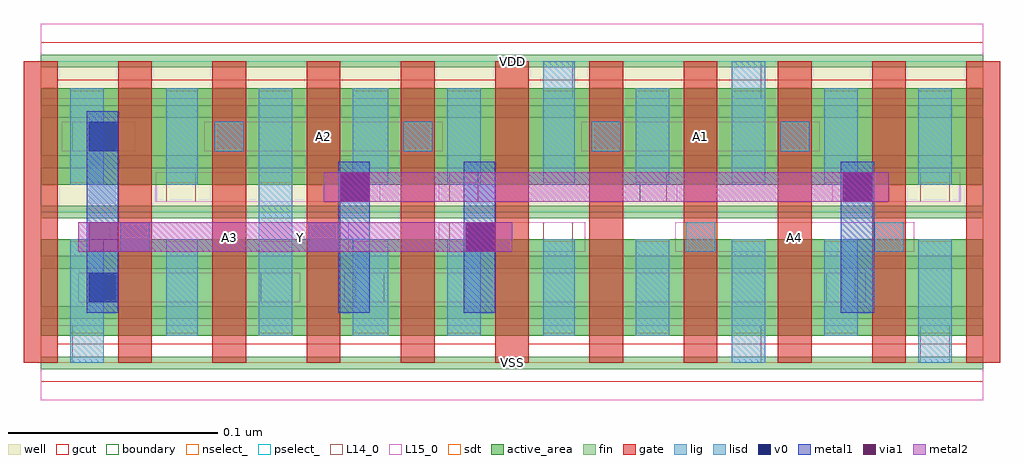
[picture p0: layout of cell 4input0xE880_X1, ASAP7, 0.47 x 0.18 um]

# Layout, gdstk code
import gdstk
lib = gdstk.Library(unit=1e-6, precision=1e-09)
def R(c, l, rs):  # rectangles x0, y0, x1, y1
    for r in rs: c.add(gdstk.rectangle(r[:2], r[2:], *l))
def A(c, l, x, y, w, h, nx, ny, dx, dy):  # array of equal rectangles
    R(c, l, [(x+i*dx, y+j*dy, x+i*dx+w, y+j*dy+h) for i in range(nx) for j in range(ny)])
def P(c, l, *ps):  # polygons
    for p in ps: c.add(gdstk.Polygon(p, *l))
well = (1, 0)
fin = (2, 0)
gate = (7, 0)
gcut = (10, 0)
active_area = (11, 0)
nselect_ = (12, 0)
pselect_ = (13, 0)
L14_0 = (14, 0)
L15_0 = (15, 0)
lig = (16, 0)
lisd = (17, 0)
v0 = (18, 0)
metal1 = (19, 0)
metal2 = (20, 0)
via1 = (21, 0)
sdt = (88, 0)
boundary = (100, 0)

c_4input0xe880_x1 = lib.new_cell('4input0xE880_X1')
R(c_4input0xe880_x1, well, [(0,0.072,0.45,0.144)])
A(c_4input0xe880_x1, fin, 0, -0.003, 0.45, 0.006, 1, 7, 0, 0.024)
A(c_4input0xe880_x1, gate, -0.008, 0, 0.016, 0.144, 11, 1, 0.045, 0)
P(c_4input0xe880_x1, gcut, [(0,-0.009),(0,0),(-0.008,0),(-0.008,0.135),(0.008,0.135),(0.008,0.009),(0.217,0.009),(0.217,0.135),(0.233,0.135),(0.233,0.009),(0.442,0.009),(0.442,0.135),(-0.008,0.135),(-0.008,0.144),(0,0.144),(0,0.153),(0.45,0.153),(0.45,0.144),(0.458,0.144),(0.458,0),(0.45,0),(0.45,-0.009)])
R(c_4input0xe880_x1, active_area, [(0,0.013,0.45,0.059), (0,0.085,0.45,0.131)])
R(c_4input0xe880_x1, nselect_, [(0,0,0.45,0.072)])
R(c_4input0xe880_x1, pselect_, [(0,0.072,0.45,0.144)])
A(c_4input0xe880_x1, L14_0, 0.083, 0.101, 0.014, 0.014, 4, 1, 0.09, 0)
R(c_4input0xe880_x1, L14_0, [(0.015,0,0.03,0.018), (0.33,0,0.344,0.018), (0.42,0,0.434,0.018), (0.105,0.029,0.12,0.043), (0.15,0.029,0.164,0.043), (0.375,0.029,0.389,0.043), (0.038,0.053,0.052,0.067), (0.128,0.053,0.142,0.067), (0.195,0.053,0.209,0.067), (0.24,0.053,0.254,0.067), (0.308,0.053,0.322,0.067), (0.398,0.053,0.412,0.067), (0.06,0.077,0.074,0.091), (0.195,0.077,0.209,0.091), (0.286,0.077,0.299,0.091), (0.42,0.077,0.434,0.091), (0.015,0.101,0.03,0.115), (0.24,0.126,0.254,0.144), (0.33,0.126,0.344,0.144)])
R(c_4input0xe880_x1, L15_0, [(0,-0.018,0.45,0.018), (0.018,0.029,0.124,0.043), (0.145,0.029,0.394,0.043), (0.033,0.053,0.147,0.067), (0.19,0.053,0.26,0.067), (0.303,0.053,0.417,0.067), (0.055,0.077,0.162,0.091), (0.19,0.077,0.304,0.091), (0.378,0.077,0.439,0.091), (0.01,0.101,0.045,0.115), (0.078,0.101,0.192,0.115), (0.258,0.101,0.372,0.115), (0,0.126,0.45,0.162)])
A(c_4input0xe880_x1, lig, 0.083, 0.101, 0.014, 0.014, 4, 1, 0.09, 0)
R(c_4input0xe880_x1, lig, [(0.038,0.053,0.052,0.067), (0.128,0.053,0.142,0.067), (0.308,0.053,0.322,0.067), (0.398,0.053,0.412,0.067)])
A(c_4input0xe880_x1, lisd, 0.194, 0.013, 0.016, 0.046, 3, 2, 0.09, 0.072)
R(c_4input0xe880_x1, lisd, [(0.014,0,0.03,0.059), (0.33,0,0.346,0.059), (0.419,0,0.435,0.059), (0.06,0.013,0.075,0.059), (0.104,0.013,0.12,0.131), (0.149,0.013,0.166,0.059), (0.24,0.013,0.255,0.059), (0.014,0.085,0.03,0.131), (0.06,0.085,0.075,0.131), (0.149,0.085,0.166,0.131), (0.24,0.085,0.255,0.144), (0.33,0.085,0.346,0.144), (0.419,0.085,0.435,0.131)])
R(c_4input0xe880_x1, v0, [(0.023,0.029,0.037,0.043), (0.203,0.053,0.217,0.067), (0.143,0.077,0.157,0.091), (0.383,0.077,0.397,0.091), (0.023,0.101,0.037,0.115)])
R(c_4input0xe880_x1, metal1, [(0.022,0.024,0.037,0.12), (0.142,0.024,0.157,0.096), (0.202,0.024,0.217,0.096), (0.382,0.024,0.398,0.096)])
R(c_4input0xe880_x1, metal2, [(0.018,0.053,0.225,0.067), (0.135,0.077,0.405,0.091)])
R(c_4input0xe880_x1, via1, [(0.023,0.053,0.037,0.067), (0.203,0.053,0.217,0.067), (0.143,0.077,0.157,0.091), (0.383,0.077,0.397,0.091)])
A(c_4input0xe880_x1, sdt, 0.014, 0.014, 0.016, 0.044, 4, 2, 0.09, 0.072)
R(c_4input0xe880_x1, sdt, [(0.06,0.014,0.075,0.058), (0.149,0.014,0.166,0.058), (0.24,0.014,0.255,0.058), (0.33,0.014,0.346,0.058), (0.374,0.014,0.39,0.058), (0.419,0.014,0.435,0.058), (0.06,0.086,0.075,0.13), (0.149,0.086,0.166,0.13), (0.24,0.086,0.255,0.13), (0.33,0.086,0.346,0.13), (0.374,0.086,0.39,0.13), (0.419,0.086,0.435,0.13)])
R(c_4input0xe880_x1, boundary, [(0,0,0.45,0.144)])
c_4input0xe880_x1.add(gdstk.Label('A3', (0.09,0.06), layer=15, texttype=251))
c_4input0xe880_x1.add(gdstk.Label('VSS', (0.225,0), layer=15, texttype=251))
c_4input0xe880_x1.add(gdstk.Label('VDD', (0.225,0.144), layer=15, texttype=251))
c_4input0xe880_x1.add(gdstk.Label('A2', (0.135,0.108), layer=15, texttype=251))
c_4input0xe880_x1.add(gdstk.Label('VSS', (0.225,0), layer=15, texttype=251))
c_4input0xe880_x1.add(gdstk.Label('VDD', (0.225,0.144), layer=15, texttype=251))
c_4input0xe880_x1.add(gdstk.Label('VSS', (0.225,0), layer=15, texttype=251))
c_4input0xe880_x1.add(gdstk.Label('VDD', (0.225,0.144), layer=15, texttype=251))
c_4input0xe880_x1.add(gdstk.Label('A1', (0.315,0.108), layer=15, texttype=251))
c_4input0xe880_x1.add(gdstk.Label('VSS', (0.225,0), layer=15, texttype=251))
c_4input0xe880_x1.add(gdstk.Label('VDD', (0.225,0.144), layer=15, texttype=251))
c_4input0xe880_x1.add(gdstk.Label('A4', (0.36,0.06), layer=15, texttype=251))
c_4input0xe880_x1.add(gdstk.Label('VSS', (0.225,0), layer=15, texttype=251))
c_4input0xe880_x1.add(gdstk.Label('VDD', (0.225,0.144), layer=15, texttype=251))
c_4input0xe880_x1.add(gdstk.Label('VSS', (0.225,0), layer=3, texttype=251))
c_4input0xe880_x1.add(gdstk.Label('VSS', (0.225,0), layer=3, texttype=251))
c_4input0xe880_x1.add(gdstk.Label('VSS', (0.225,0), layer=3, texttype=251))
c_4input0xe880_x1.add(gdstk.Label('VSS', (0.225,0), layer=3, texttype=251))
c_4input0xe880_x1.add(gdstk.Label('VSS', (0.225,0), layer=3, texttype=251))
c_4input0xe880_x1.add(gdstk.Label('VDD', (0.225,0.144), layer=1, texttype=251))
c_4input0xe880_x1.add(gdstk.Label('VDD', (0.225,0.144), layer=1, texttype=251))
c_4input0xe880_x1.add(gdstk.Label('VDD', (0.225,0.144), layer=1, texttype=251))
c_4input0xe880_x1.add(gdstk.Label('VDD', (0.225,0.144), layer=1, texttype=251))
c_4input0xe880_x1.add(gdstk.Label('VDD', (0.225,0.144), layer=1, texttype=251))
c_4input0xe880_x1.add(gdstk.Label('Y', (0.124,0.06), layer=20, texttype=251))

lib.write_gds('4input0xE880_X1.gds')
